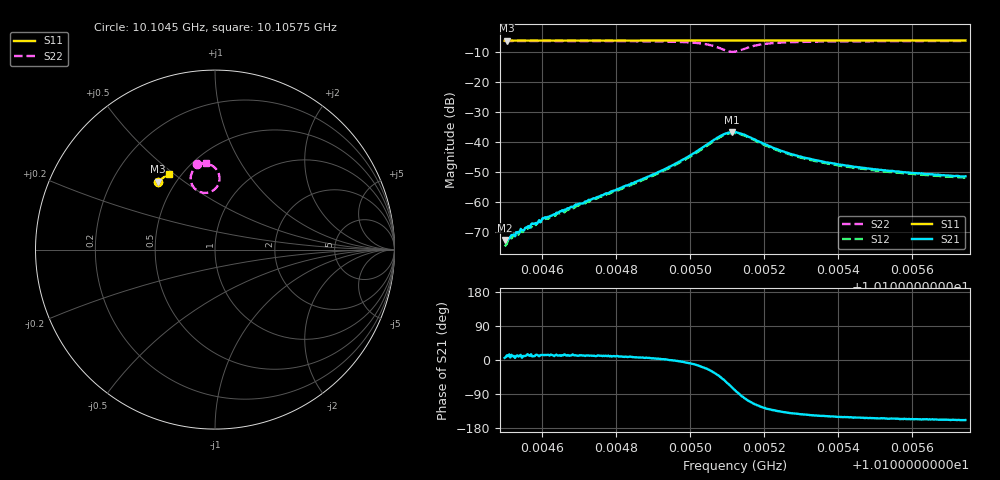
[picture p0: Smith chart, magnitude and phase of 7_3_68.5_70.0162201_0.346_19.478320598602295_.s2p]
#  HZ  S  RI  R  50.00
! Rohde & Schwarz Vector Network Analyzer
! Rohde-Schwarz,ZNB20-2Port,1311601062101988,3.16
! Created: UTC 3/20/2024, 4:48:52 PM
! freq[Hz]  re:S11  im:S11  re:S21  im:S21  re:S12  im:S12  re:S22  im:S22
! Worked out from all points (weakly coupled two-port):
!   401 points, 10.1045 GHz to 10.10575 GHz, reference 50 ohm
!   highest |S21| = -36.66 dB at 10.10511 GHz (marker M1); lowest = -72.6 dB at 10.1045 GHz (marker M2)
!   lowest |S11| = -6.1 dB at 10.10451 GHz (marker M3), VSWR 2.94, Z = 20.2 + j20.1 ohm
!   |S11| at or under -10 dB: nowhere
!   |S22| runs from -9.9 to -6.3 dB; largest |S21 - S12| = 0.0017
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1.0104499e10  -0.3168 0.3774  0.000234 2.24e-05  0.000181 3.21e-05  -0.0975 0.4754
1.0104505e10  -0.3164 0.3777  0.000237 5.21e-05  0.000199 3.76e-05  -0.097 0.4755
1.0104521e10  -0.3157 0.3784  0.000286 5e-05  0.000254 6.53e-05  -0.0958 0.4758
1.0104577e10  -0.3131 0.3807  0.000425 7.52e-05  0.000395 0.000117  -0.0904 0.4766
1.0104586e10  -0.3127 0.381  0.000419 0.000103  0.000418 0.000147  -0.0895 0.4768
1.0104608e10  -0.3117 0.382  0.000545 0.000128  0.000486 0.000166  -0.0872 0.4772
1.0104695e10  -0.3077 0.3855  0.000884 0.000185  0.000834 0.000257  -0.0776 0.4786
1.0104708e10  -0.3071 0.3861  0.000926 0.000203  0.000865 0.000266  -0.0762 0.4787
1.0104811e10  -0.3022 0.3901  0.00167 0.000283  0.00158 0.000397  -0.0614 0.4795
1.0104917e10  -0.2971 0.3942  0.0032 0.000171  0.00303 0.000436  -0.0382 0.4764
1.0104982e10  -0.2939 0.3968  0.00511 -0.00044  0.00491 8.01e-06  -0.0139 0.4664
1.0105035e10  -0.2912 0.3986  0.00771 -0.00264  0.00756 -0.00178  0.0142 0.4377
1.0105085e10  -0.2885 0.4  0.00886 -0.00933  0.0094 -0.00804  0.0168 0.3607
1.0105113e10  -0.2875 0.4006  0.0047 -0.0139  0.00594 -0.0128  -0.037 0.3179
1.0105122e10  -0.2871 0.4009  0.00245 -0.0144  0.00375 -0.0136  -0.0617 0.3161
1.0105157e10  -0.2861 0.4022  -0.00356 -0.012  -0.00238 -0.0119  -0.1246 0.3555
1.0105203e10  -0.2841 0.4042  -0.00544 -0.00743  -0.00473 -0.00758  -0.1341 0.4132
1.0105266e10  -0.2809 0.4068  -0.00497 -0.0043  -0.00443 -0.00453  -0.1177 0.4473
1.0105331e10  -0.2778 0.4093  -0.00426 -0.0029  -0.00383 -0.00312  -0.1023 0.4623
1.0105418e10  -0.2736 0.4126  -0.00356 -0.00203  -0.00325 -0.00222  -0.0873 0.4715
1.010554e10  -0.2675 0.4169  -0.00299 -0.00141  -0.00274 -0.00161  -0.0717 0.4778
1.0105745e10  -0.2571 0.4239  -0.0025 -0.000989  -0.0023 -0.00115  -0.0518 0.483
